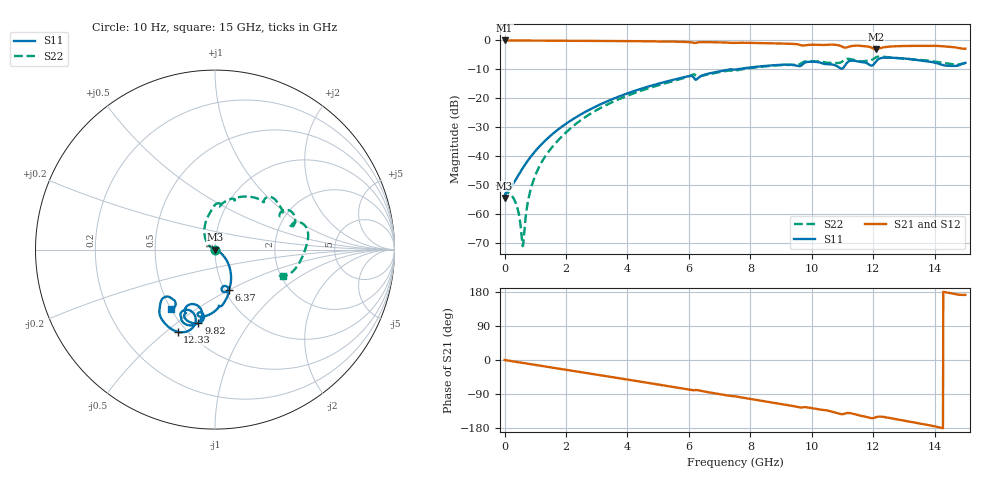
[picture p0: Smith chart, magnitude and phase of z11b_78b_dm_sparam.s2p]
![Disclaimer] This software code/ model/ data and all associated documentation, comments
!    or other information (collectively "Software") is provided
!    "AS IS" without warranty of any kind. MICRON TECHNOLOGY, INC.
!   ("MTI") EXPRESSLY DISCLAIMS ALL WARRANTIES EXPRESS OR IMPLIED,
!    INCLUDING BUT NOT LIMITED TO, NONINFRINGEMENT OF THIRD PARTY
!   RIGHTS, AND ANY IMPLIED WARRANTIES OF MERCHANTABILITY OR FITNESS
!    FOR ANY PARTICULAR PURPOSE. MTI DOES NOT WARRANT THAT THE
!    SOFTWARE WILL MEET YOUR REQUIREMENTS, OR THAT THE OPERATION OF
!    THE SOFTWARE WILL BE UNINTERRUPTED OR ERROR-FREE. FURTHERMORE,
!    MTI DOES NOT MAKE ANY REPRESENTATIONS REGARDING THE USE OR THE
!    RESULTS OF THE USE OF THE SOFTWARE IN TERMS OF ITS CORRECTNESS,
!    ACCURACY, RELIABILITY, OR OTHERWISE. THE ENTIRE RISK ARISING OUT
!    OF USE OR PERFORMANCE OF THE SOFTWARE REMAINS WITH YOU. IN NO
!    EVENT SHALL MTI, ITS AFFILIATED COMPANIES OR THEIR SUPPLIERS BE
!    LIABLE FOR ANY DIRECT, INDIRECT, CONSEQUENTIAL, INCIDENTAL, OR
!    SPECIAL DAMAGES (INCLUDING, WITHOUT LIMITATION, DAMAGES FOR LOSS
!    OF PROFITS, BUSINESS INTERRUPTION, OR LOSS OF INFORMATION)
!    ARISING OUT OF YOUR USE OF OR INABILITY TO USE THE SOFTWARE,
!    EVEN IF MTI HAS BEEN ADVISED OF THE POSSIBILITY OF SUCH DAMAGES.
!    Because some jurisdictions prohibit the exclusion or limitation
!    of liability for consequential or incidental damages, the above
!    limitation may not apply to you.
!    Copyright 2019 Micron Technology, Inc. All rights reserved.
! Single-ended  S-parameters
!NUMBER OF PORTS = 2
!  PORT#  PORT_NAME  NET_NAME
! PORT1:  DM#.BGA.VDDQ_VSS DM#
! PORT2:  DM#.Z11B_DIE.VDDQ_VSS DM#
# HZ S  RI R 5.000000e+001
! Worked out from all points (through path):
!   1701 points, 10 Hz to 15 GHz, reference 50 ohm
!   highest |S21| = -0.02 dB at 1.848 kHz (marker M1); lowest = -3.0 dB at 12.08 GHz (marker M2)
!   group delay of S21, straight-line fit = 34.8 ps
!   lowest |S11| = -54.4 dB at 10 Hz (marker M3), VSWR 1.00, Z = 50.2 + j7.13e-08 ohm
!   |S11| at or under -10 dB: start of sweep to 7.334 GHz; 7.411 GHz to 7.563 GHz (152.2 MHz wide, 2.03 % of centre)
!   |S22| runs from -71.1 to -5.6 dB; largest |S21 - S12| = 0
!   S11 on the Smith chart (normalised r, x): 10 Hz: 1.00, +0.00; 6.37 GHz: 1.04, -0.50; 9.82 GHz: 0.60, -0.60; 12.33 GHz: 0.45, -0.55; 15 GHz: 0.50, -0.40
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10  0.00191 7.11e-10  0.9981 -3.15e-09  0.9981 -3.15e-09  0.00191 7.14e-10
1847.85  0.00191 1.31e-07  0.9981 -5.81e-07  0.9981 -5.81e-07  0.00191 1.32e-07
8.57696e7  0.00245 0.00012  0.9971 -0.02  0.9971 -0.02  0.00235 0.00013
3.1e8  0.00354 -0.000137  0.994 -0.0712  0.994 -0.0712  0.0018 7.65e-05
5.5e8  0.0057 -0.000909  0.9873 -0.1252  0.9873 -0.1252  0.000382 0.000222
6e8  0.00625 -0.00115  0.9855 -0.1363  0.9855 -0.1363  -1.81e-05 0.000286
8.3e8  0.00913 -0.00258  0.9758 -0.1869  0.9758 -0.1869  -0.0023 0.000811
1.14e9  0.0139 -0.00532  0.9588 -0.2538  0.9588 -0.2538  -0.0064 0.00229
1.68e9  0.0243 -0.0125  0.9183 -0.366  0.9183 -0.366  -0.0157 0.00723
2.51e9  0.0439 -0.0311  0.8321 -0.5264  0.8321 -0.5264  -0.0354 0.0245
5.01e9  0.0897 -0.1551  0.4099 -0.8691  0.4099 -0.8691  -0.049 0.1611
6.37e9  0.0771 -0.2258  0.1435 -0.9228  0.1435 -0.9228  0.0291 0.2391
7.51e9  0.0226 -0.3126  -0.0952 -0.9059  -0.0952 -0.9059  0.108 0.2785
9.82e9  -0.0925 -0.4106  -0.4718 -0.6814  -0.4718 -0.6814  0.3329 0.2806
1.001e10  -0.1347 -0.4063  -0.5101 -0.6699  -0.5101 -0.6699  0.3559 0.251
1.096e10  -0.1151 -0.3043  -0.6304 -0.4783  -0.6304 -0.4783  0.3662 0.2085
1.127e10  -0.1424 -0.4221  -0.6116 -0.5044  -0.6116 -0.5044  0.4462 0.1603
1.208e10  -0.1107 -0.4115  -0.6185 -0.34  -0.6185 -0.34  0.4876 0.1456
1.233e10  -0.208 -0.4578  -0.6573 -0.3773  -0.6573 -0.3773  0.5182 0.0616
1.251e10  -0.2476 -0.4395  -0.693 -0.3584  -0.693 -0.3584  0.5098 0.0234
1.422e10  -0.276 -0.2628  -0.7961 -0.0134  -0.7961 -0.0134  0.3864 -0.1456
1.5e10  -0.2434 -0.3302  -0.7111 0.1032  -0.7111 0.1032  0.3776 -0.1498
